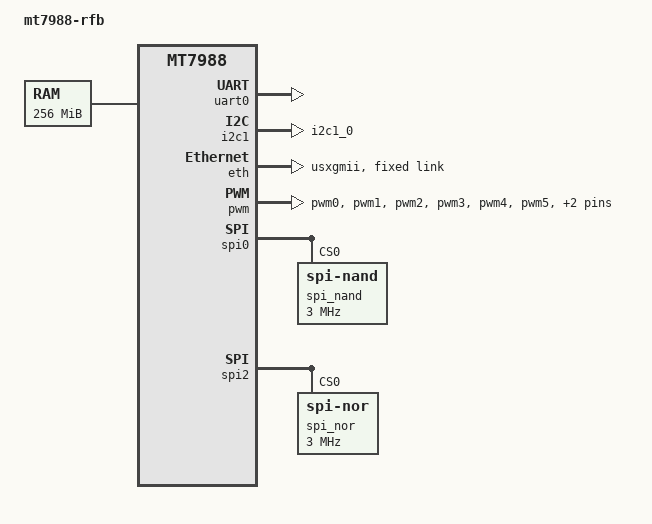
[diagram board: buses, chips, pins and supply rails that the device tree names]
// SPDX-License-Identifier: GPL-2.0
/*
 * Copyright (c) 2022 MediaTek Inc.
 * Author: Sam Shih <sam.shih@mediatek.com>
 */

/dts-v1/;
#include "mt7988.dtsi"
#include <dt-bindings/gpio/gpio.h>

/ {
	model = "mt7988-rfb";
	compatible = "mediatek,mt7988-rfb";
	chosen {
		stdout-path = &uart0;
	};

	memory@40000000 {
		device_type = "memory";
		reg = <0 0x40000000 0 0x10000000>;
	};
};

&uart0 {
	status = "okay";
};

&i2c1 {
	pinctrl-names = "default";
	pinctrl-0 = <&i2c1_pins>;
	status = "okay";
};

&eth {
	status = "okay";
	mediatek,gmac-id = <0>;
	phy-mode = "usxgmii";
	mediatek,switch = "mt7988";

	fixed-link {
		speed = <1000>;
		full-duplex;
		pause;
	};
};

&pinctrl {
	i2c1_pins: i2c1-pins {
		mux {
			function = "i2c";
			groups = "i2c1_0";
		};
	};

	pwm_pins: pwm-pins {
		mux {
			function = "pwm";
			groups = "pwm0", "pwm1", "pwm2", "pwm3", "pwm4",
				 "pwm5", "pwm6", "pwm7";
		};
	};
};

&pwm {
	pinctrl-names = "default";
	pinctrl-0 = <&pwm_pins>;
	status = "okay";
};

&spi0 {
	#address-cells = <1>;
	#size-cells = <0>;
	status = "okay";
	must_tx;
	enhance_timing;
	dma_ext;
	ipm_design;
	support_quad;
	tick_dly = <0>;
	sample_sel = <0>;

	spi_nand@0 {
		compatible = "spi-nand";
		reg = <0>;
		spi-max-frequency = <3000000>;
	};
};

&spi2 {
	#address-cells = <1>;
	#size-cells = <0>;
	status = "okay";
	must_tx;
	enhance_timing;
	dma_ext;
	ipm_design;
	support_quad;
	tick_dly = <0>;
	sample_sel = <0>;

	spi_nor@0 {
		compatible = "jedec,spi-nor";
		reg = <0>;
		spi-max-frequency = <3000000>;
	};
};
